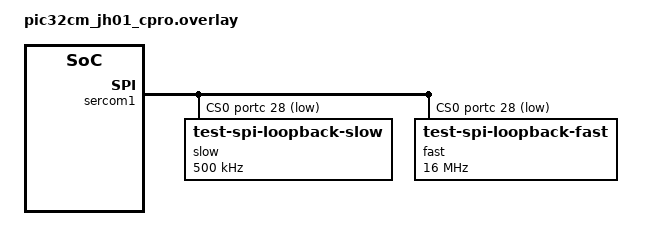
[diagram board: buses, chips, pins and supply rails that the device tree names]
/*
 * SPDX-FileCopyrightText: Copyright (c) 2026 Microchip Technology Inc.
 *
 * SPDX-License-Identifier: Apache-2.0
 */

&sercom5 {
	status = "disabled";
};

&sercom1 {
	compatible = "microchip,sercom-g1-spi";
	/* Internally connect MOSI to MISO for loop-back operation */
	dipo = <3>;
	dopo = <2>;
	#address-cells = <1>;
	#size-cells = <0>;
	cs-gpios = <&portc 28 GPIO_ACTIVE_LOW>;
	dmas = <&dmac 0 0x04>, <&dmac 1 0x05>;
	dma-names = "rx", "tx";
	pinctrl-0 = <&sercom1_spi_default>;
	pinctrl-names = "default";
	status = "okay";

	slow@0 {
		compatible = "test-spi-loopback-slow";
		reg = <0>;
		spi-max-frequency = <500000>;
	};

	fast@0 {
		compatible = "test-spi-loopback-fast";
		reg = <0>;
		spi-max-frequency = <16000000>;
	};
};

&pinctrl {
	sercom1_spi_default: sercom1_spi_default {
		group1 {
			pinmux = <PA18C_SERCOM1_PAD2>,
				 <PC27D_SERCOM1_PAD0>,
				 <PA19C_SERCOM1_PAD3>;
		};
	};
};
